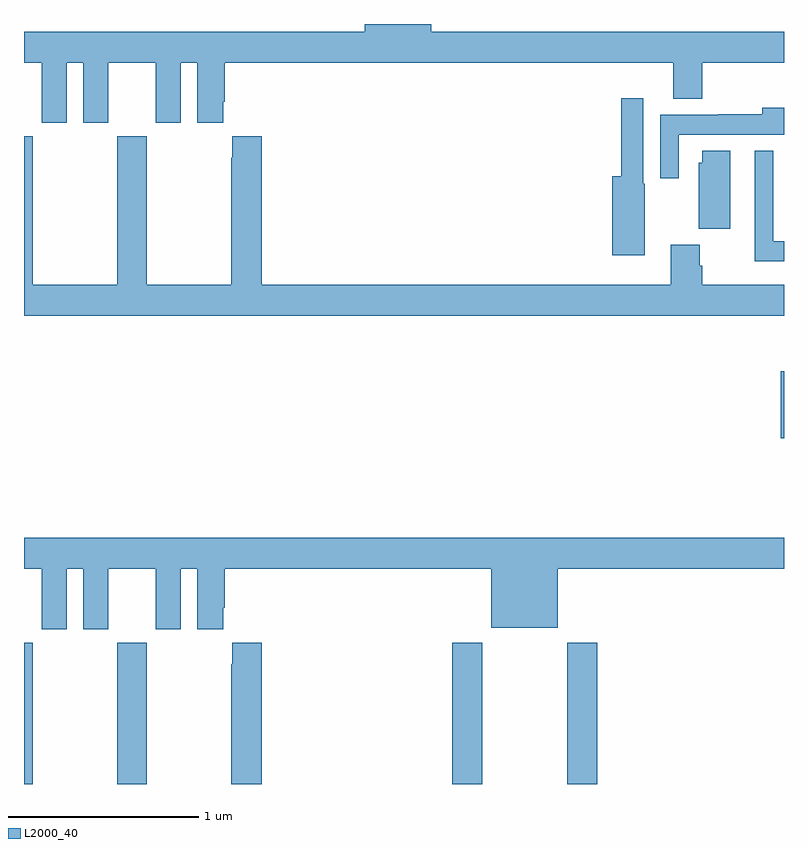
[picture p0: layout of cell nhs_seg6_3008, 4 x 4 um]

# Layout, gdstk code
import gdstk
lib = gdstk.Library(unit=1e-6, precision=1e-09)
def R(c, l, rs):  # rectangles x0, y0, x1, y1
    for r in rs: c.add(gdstk.rectangle(r[:2], r[2:], *l))
def P(c, l, *ps):  # polygons
    for p in ps: c.add(gdstk.Polygon(p, *l))
L2000_40 = (2000, 40)

nhs_seg6_3008 = lib.new_cell('nhs_seg6_3008')
R(nhs_seg6_3008, L2000_40, [(287,983.5,287.046,984.244), (287.491,983.5,287.646,984.244), (289.253,983.5,289.413,984.244), (289.858,983.5,290.018,984.244), (290.984,985.319,291,985.672)])
P(nhs_seg6_3008, L2000_40, [(287.224,987.296),(287.312,987.296),(287.312,986.979),(287.443,986.979),(287.443,987.296),(287.693,987.296),(287.693,986.979),(287.824,986.979),(287.824,987.296),(287.912,987.296),(287.912,986.979),(288.049,986.979),(288.049,987.091),(288.056,987.091),(288.056,987.296),(290.417,987.296),(290.417,987.107),(290.57,987.107),(290.57,987.296),(291,987.296),(291,987.46),(289.144,987.46),(289.144,987.5),(288.794,987.5),(288.794,987.46),(287,987.46),(287,987.296),(287.093,987.296),(287.093,986.979),(287.224,986.979)],
  [(290.266,986.658),(290.259,986.658),(290.259,987.109),(290.143,987.109),(290.143,986.698),(290.096,986.698),(290.096,986.282),(290.266,986.282)],
  [(290.445,986.918),(291,986.918),(291,987.058),(290.885,987.058),(290.885,987.025),(290.653,987.025),(290.653,987.022),(290.349,987.022),(290.349,986.688),(290.445,986.688)],
  [(291,986.128),(290.57,986.128),(290.57,986.228),(290.557,986.228),(290.557,986.337),(290.405,986.337),(290.405,986.128),(288.251,986.128),(288.251,986.908),(288.095,986.908),(288.095,986.795),(288.091,986.795),(288.091,986.128),(287.646,986.128),(287.646,986.908),(287.491,986.908),(287.491,986.128),(287.046,986.128),(287.046,986.908),(287,986.908),(287,985.964),(291,985.964)],
  [(290.716,986.833),(290.57,986.833),(290.57,986.769),(290.552,986.769),(290.552,986.422),(290.716,986.422)],
  [(291,986.356),(290.943,986.356),(290.943,986.833),(290.846,986.833),(290.846,986.252),(291,986.252)],
  [(287.224,984.632),(287.312,984.632),(287.312,984.315),(287.443,984.315),(287.443,984.632),(287.693,984.632),(287.693,984.315),(287.824,984.315),(287.824,984.632),(287.912,984.632),(287.912,984.315),(288.049,984.315),(288.049,984.427),(288.056,984.427),(288.056,984.632),(289.46,984.632),(289.46,984.323),(289.81,984.323),(289.81,984.632),(291,984.632),(291,984.796),(287,984.796),(287,984.632),(287.093,984.632),(287.093,984.315),(287.224,984.315)],
  [(288.251,984.244),(288.095,984.244),(288.095,984.131),(288.091,984.131),(288.091,983.5),(288.251,983.5)])

lib.write_gds('nhs_seg6_3008.gds')
